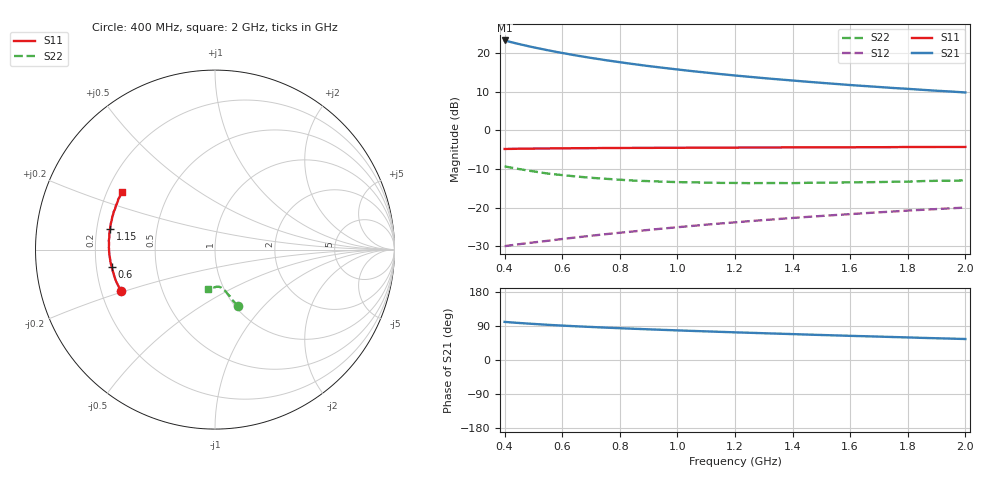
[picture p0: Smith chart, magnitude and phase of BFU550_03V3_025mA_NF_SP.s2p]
! Filename:  P:\Prog\Test\Noise\ATS_data\Testdata_Net\06 Compressed Noise after Statistics\BFU550_APG2013_43_D05_03p3V_025mA_NF_CM01_D.sf
! Date/Time: Fri 26/Apr/2013 13:07:20
! BFU550_APG2013_43_D05_03p3V_1to35mA_NF_CM01_Bias7_R.sf
! Noise Parameter Data File
! BFU550_APG2013_43_D05_03p3V_1to35mA_NF_CM01
! Date/time: Thu Apr 25 15:07:57 2013
! VAR V_out= 3.300000
! VAR I_out= 25.005000
! VAR V_in= 0.846300
! VAR I_in= 0.286300
! Device data file deembeded for feedlines and parallel
! Original file: \06 Compressed Noise after Statistics\BFU550_APG2013_43_D05_03p3V_025mA_NF_CM01_R.sf
! Feed-files: PR047V01_250413_Feed1.s2p, PR047V01_250413_Feed2.s2p
! Parallel-file: PR047V01_250413_Par.s2p
# MHz S MA R 50
!  Freq-MHz  S11-mag  S11-arg  S21-mag  S21-arg  S12-mag  S12-arg  S22-mag  S22-arg
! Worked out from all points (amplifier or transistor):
!   37 points, 400 MHz to 2 GHz, reference 50 ohm
!   highest |S21| = 23.3 dB at 400 MHz (marker M1)
!   |S21| within 3 dB of that: start of sweep to 583 MHz
!   unconditionally stable (mu >= 1): 1.07 GHz to end of sweep
!   at 500 MHz: K = 0.78, MSG = 25.3 dB, |S12| = -29.0 dB
!   at 1.1 GHz: K = 1.00, MAG = 19.3 dB, |S12| = -24.4 dB
!   at 2 GHz: K = 1.07, MAG = 13.3 dB, |S12| = -20.0 dB
!   lowest NFmin = 1.07 dB at 460 MHz
!   S11 on the Smith chart (normalised r, x): 400 MHz: 0.28, -0.19; 600 MHz: 0.26, -0.08; 1.15 GHz: 0.26, +0.09; 2 GHz: 0.26, +0.27
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400  0.573 -156.4  14.54 100.6  0.03161 51.6  0.3409 -67.7
420  0.5745 -158.2  13.92 99.4  0.03238 51.9  0.3298 -68.6
440  0.576 -159.8  13.34 98.3  0.03309 52.1  0.3194 -69.2
460  0.5776 -161.4  12.81 97.2  0.03388 52.5  0.3109 -69.9
500  0.5798 -164.3  11.86 95.2  0.03532 53.1  0.2938 -71.1
550  0.5814 -167.7  10.86 92.8  0.03709 54.2  0.2752 -72.1
600  0.5838 -170.4  10.02 90.8  0.03913 54.9  0.2629 -73.4
650  0.5863 -173.0  9.278 88.9  0.04109 55.6  0.252 -74.6
700  0.5871 -175.1  8.646 87.2  0.04312 56.3  0.2428 -75.4
750  0.5893 -177.5  8.093 85.5  0.04515 56.8  0.2356 -76.5
800  0.5901 -179.4  7.605 83.9  0.04714 57.4  0.2291 -77.6
850  0.5913 178.7  7.171 82.4  0.04915 58.0  0.2229 -78.4
900  0.5914 176.7  6.78 80.9  0.0513 58.5  0.2196 -79.4
950  0.5937 175.1  6.441 79.5  0.05344 58.9  0.2161 -80.3
1050  0.5947 171.7  5.837 76.8  0.05777 59.5  0.2119 -82.1
1150  0.5958 168.8  5.338 74.3  0.06215 60.0  0.2084 -83.8
1200  0.5971 167.3  5.118 73.0  0.06432 60.1  0.2082 -84.8
1350  0.599 163.3  4.563 69.5  0.071 60.5  0.2076 -87.4
1500  0.6026 159.4  4.112 66.0  0.07777 60.4  0.2098 -90.2
1600  0.6025 156.8  3.849 63.7  0.08209 60.3  0.212 -92.0
1750  0.605 153.4  3.525 60.6  0.08884 60.0  0.2156 -95.0
2000  0.6088 148.1  3.085 55.4  0.09976 59.3  0.2248 -99.6
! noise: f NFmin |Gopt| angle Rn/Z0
400  1.146  0.3299  -176.5  0.0737
460  1.069  0.3914  -171.4  0.0576
600  1.087  0.3699  -169.9  0.0641
800  1.149  0.3933  -165.8  0.0619
1000  1.171  0.4031  -163.9  0.0626
1200  1.208  0.4163  -159.4  0.066
1400  1.229  0.4243  -157.4  0.0695
1600  1.281  0.4398  -152.3  0.0761
1800  1.261  0.4505  -149.4  0.0808
2000  1.378  0.4519  -146.2  0.0933
